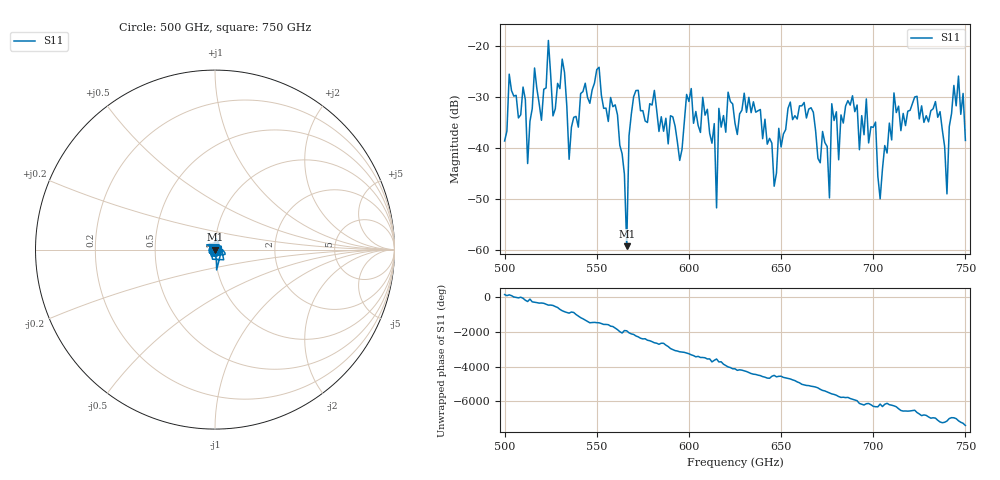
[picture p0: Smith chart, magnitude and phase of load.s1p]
!Created with mwavepy.
# GHz S RI R 50.0
!freq	ReS11	ImS11
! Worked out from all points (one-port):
!   201 points, 500 GHz to 750 GHz, reference 50 ohm
!   lowest |S11| = -59.2 dB at 566.2 GHz (marker M1), VSWR 1.00, Z = 49.9 - j0.0834 ohm
!   |S11| at or under -10 dB: start of sweep to end of sweep
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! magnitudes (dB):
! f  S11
! 500 GHz  -38.6
! 502.5 GHz  -25.5
! 531.2 GHz  -22.5
! 535 GHz  -42.2
! 551.2 GHz  -24.1
! 562.5 GHz  -39.4
! 566.2 GHz  -59.2
! 567.5 GHz  -37.6
! 571.2 GHz  -28.7
! 593.8 GHz  -38.8
! 607.5 GHz  -30.0
! 613.8 GHz  -35.2
! 615 GHz  -51.7
! 616.2 GHz  -32.2
! 625 GHz  -35.1
! 646.2 GHz  -47.4
! 656.2 GHz  -34.4
! 676.2 GHz  -49.7
! 677.5 GHz  -31.3
! 687.5 GHz  -31.6
! 701.2 GHz  -34.9
! 703.8 GHz  -49.9
! 711.2 GHz  -29.2
! 718.8 GHz  -32.7
! 733.8 GHz  -30.9
! 740 GHz  -48.9
! 743.8 GHz  -27.7
! 750 GHz  -38.5
